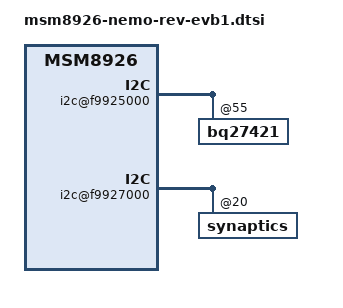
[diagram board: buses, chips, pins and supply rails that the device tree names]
/* Copyright (c) 2015, LGE Inc. All rights reserved.
 *
 * This program is free software; you can redistribute it and/or modify
 * it under the terms of the GNU General Public License version 2 and
 * only version 2 as published by the Free Software Foundation.
 *
 * This program is distributed in the hope that it will be useful,
 * but WITHOUT ANY WARRANTY; without even the implied warranty of
 * MERCHANTABILITY or FITNESS FOR A PARTICULAR PURPOSE.  See the
 * GNU General Public License for more details.
 */

#include "msm8926-nemo.dtsi"

&soc {
	i2c@f9925000 {
		bq27421@55 {
			status = "okay";
		};
	};
	i2c@f9927000 {
		synaptics@20 {
			synaptics,fw-image-name = "synaptics_fw_evb1.bin";
		};
	};
};

&mdss_dsi0 {
	qcom,dsi-pref-prim-pan = <&dsi_lgd_lg4237_cmd>;
};

&rear_tm {
	status = "disabled";
};
